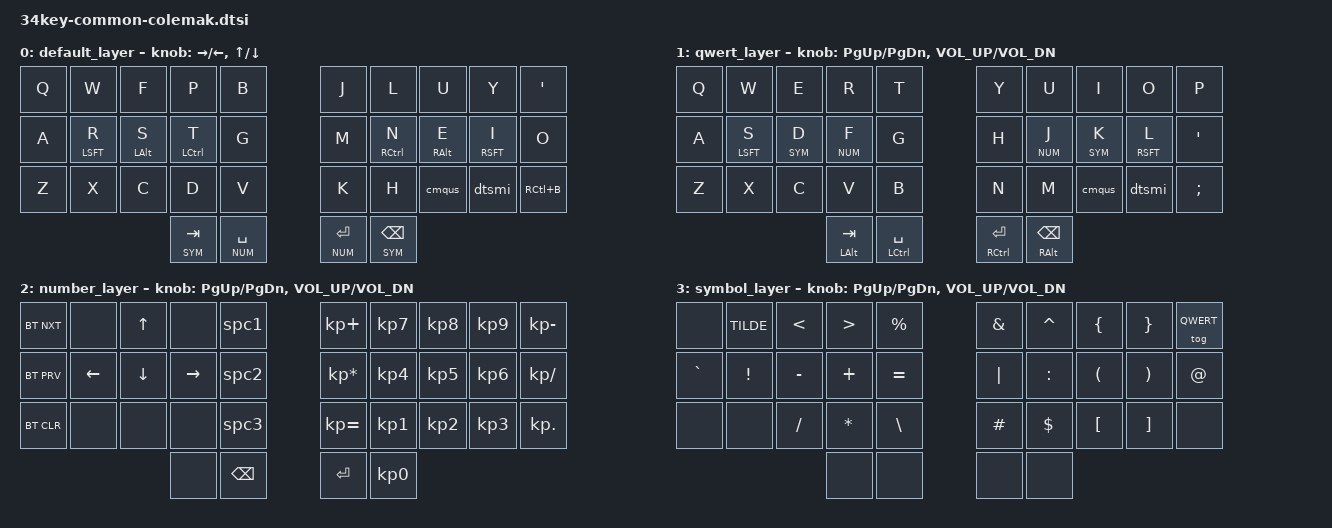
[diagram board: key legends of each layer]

#define DEFAULT 0
#define QWERT   1
#define NUM     2
#define SYM     3

&mt {
   flavor = "tap-preferred";
   tapping_term_ms = <200>;
};

/ { 

#include "key-common.dtsi"

    keymap {
        compatible = "zmk,keymap";
                
     		default_layer {
        		bindings = <
            		&kp Q &kp W      &kp F      &kp P      &kp B    &kp J &kp L      &kp U      &kp Y      &kp SQT
             		&kp A &mt LSFT R &mt LALT S &mt LCTL T &kp G    &kp M &mt RCTL N &mt RALT E &mt RSFT I &kp O
                &kp Z &kp X      &kp C      &kp D      &kp V    &kp K &kp H      &cmqus     &dtsmi     &kp RC(B)
                                 &lt SYM TAB   &lt NUM SPACE    &lt NUM RET      &lt SYM BSPC 
             		>;
                sensor-bindings = <&inc_dec_kp RIGHT LEFT &inc_dec_kp UP DOWN>;
		    };

     		qwert_layer {
        		bindings = <
            		&kp Q &kp W      &kp E     &kp R     &kp T    &kp Y &kp U     &kp I      &kp O       &kp P
             		&kp A &mt LSFT S &lt SYM D &lt NUM F &kp G    &kp H &lt NUM J &lt SYM K  &mt RSFT L  &kp SQT 
                &kp Z &kp X      &kp C     &kp V     &kp B    &kp N &kp M     &cmqus     &dtsmi      &kp SEMI
          			              &mt LALT TAB  &mt LCTL SPACE    &mt RCTL RET    &mt RALT BSPC
             		>;
                sensor-bindings = <&inc_dec_kp PG_UP PG_DN &inc_dec_kp C_VOL_UP C_VOL_DN>;
		    };

        number_layer {
            bindings = <
                &bt BT_NXT  &none     &kp UP    &none      &spc1      &kp KP_PLUS     &kp KP_N7 &kp KP_N8 &kp KP_N9 &kp KP_MINUS
                &bt BT_PRV  &kp LEFT  &kp DOWN  &kp RIGHT  &spc2      &kp KP_MULTIPLY &kp KP_N4 &kp KP_N5 &kp KP_N6 &kp KP_DIVIDE
                &bt BT_CLR  &none     &none     &none      &spc3      &kp KP_EQUAL    &kp KP_N1 &kp KP_N2 &kp KP_N3 &kp KP_DOT
                                             &none      &kp BSPC      &kp RET         &kp KP_N0
            >;
                sensor-bindings = <&inc_dec_kp PG_UP PG_DN &inc_dec_kp C_VOL_UP C_VOL_DN>;
        };

        symbol_layer {
            bindings = <
                &none     &TILDE   &kp LT    &kp GT   &kp PRCNT   &kp AMPS &kp CARET &kp LBRC &kp RBRC &tog QWERT
                &kp GRAVE &kp EXCL &kp MINUS &kp PLUS &kp EQUAL   &kp PIPE &kp COLON &kp LPAR &kp RPAR &kp AT
                &none     &none    &kp SLASH &kp STAR &kp BSLH    &kp HASH &kp DLLR  &kp LBKT &kp RBKT &none  
                                             &none    &none       &none    &none
            >;
                sensor-bindings = <&inc_dec_kp PG_UP PG_DN &inc_dec_kp C_VOL_UP C_VOL_DN>;
        };
        
   	};
};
